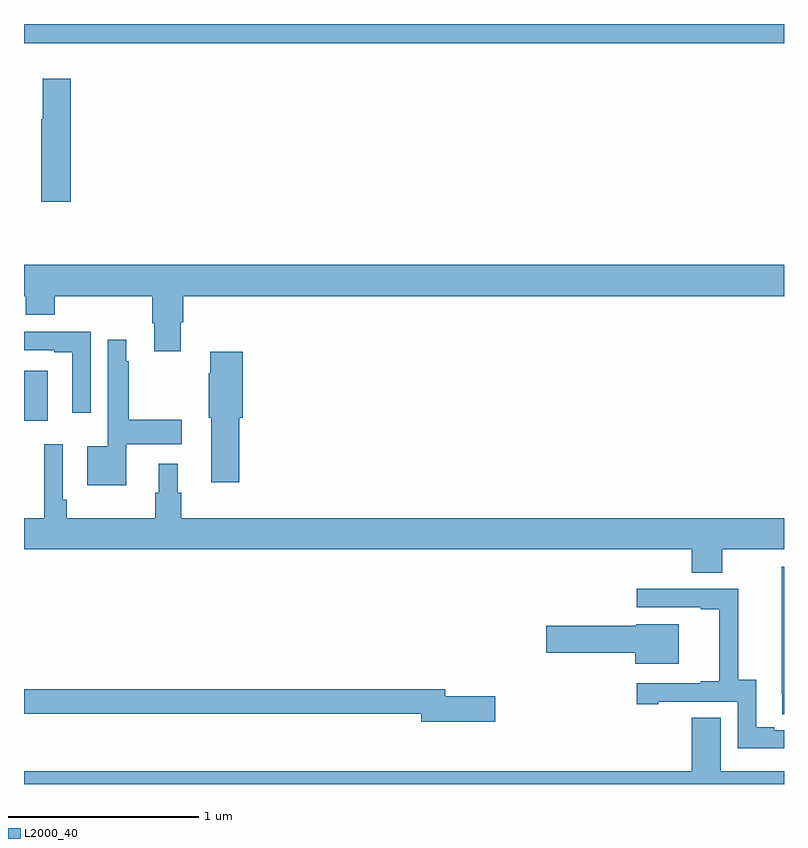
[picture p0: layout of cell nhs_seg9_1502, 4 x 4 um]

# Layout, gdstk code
import gdstk
lib = gdstk.Library(unit=1e-6, precision=1e-09)
def R(c, l, rs):  # rectangles x0, y0, x1, y1
    for r in rs: c.add(gdstk.rectangle(r[:2], r[2:], *l))
def P(c, l, *ps):  # polygons
    for p in ps: c.add(gdstk.Polygon(p, *l))
L2000_40 = (2000, 40)

nhs_seg9_1502 = lib.new_cell('nhs_seg9_1502')
R(nhs_seg9_1502, L2000_40, [(195,1214.411,195.124,1214.674), (195,1216.4,199,1216.5)])
P(nhs_seg9_1502, L2000_40, [(195.245,1216.213),(195.098,1216.213),(195.098,1216),(195.091,1216),(195.091,1215.564),(195.245,1215.564)],
  [(195.826,1214.931),(195.839,1214.931),(195.839,1215.068),(199,1215.068),(199,1215.232),(195,1215.232),(195,1215.068),(195.009,1215.068),(195.009,1214.97),(195.161,1214.97),(195.161,1215.068),(195.674,1215.068),(195.674,1214.926),(195.686,1214.926),(195.686,1214.778),(195.826,1214.778)],
  [(195.351,1214.88),(195,1214.88),(195,1214.784),(195.158,1214.784),(195.158,1214.772),(195.254,1214.772),(195.254,1214.454),(195.351,1214.454)],
  [(195.538,1214.288),(195.829,1214.288),(195.829,1214.418),(195.55,1214.418),(195.55,1214.726),(195.538,1214.726),(195.538,1214.839),(195.441,1214.839),(195.441,1214.278),(195.332,1214.278),(195.332,1214.072),(195.538,1214.072)],
  [(196.133,1214.427),(196.151,1214.427),(196.151,1214.776),(195.98,1214.776),(195.98,1214.663),(195.973,1214.663),(195.973,1214.427),(195.986,1214.427),(195.986,1214.088),(196.133,1214.088)],
  [(198.675,1213.736),(199,1213.736),(199,1213.9),(195.827,1213.9),(195.827,1214.034),(195.808,1214.034),(195.808,1214.185),(195.71,1214.185),(195.71,1214.034),(195.691,1214.034),(195.691,1213.9),(195.224,1213.9),(195.224,1213.996),(195.204,1213.996),(195.204,1214.287),(195.107,1214.287),(195.107,1213.9),(195,1213.9),(195,1213.736),(198.515,1213.736),(198.515,1213.612),(198.675,1213.612)],
  [(199,1213.644),(198.989,1213.644),(198.989,1212.976),(198.99,1212.976),(198.99,1212.868),(199,1212.868)],
  [(199,1212.783),(198.949,1212.783),(198.949,1212.798),(198.853,1212.798),(198.853,1213.049),(198.759,1213.049),(198.759,1213.527),(198.225,1213.527),(198.225,1213.431),(198.563,1213.431),(198.563,1213.419),(198.659,1213.419),(198.659,1213.042),(198.563,1213.042),(198.563,1213.029),(198.225,1213.029),(198.225,1212.921),(198.337,1212.921),(198.337,1212.933),(198.756,1212.933),(198.756,1212.687),(199,1212.687)],
  [(198.445,1213.342),(198.222,1213.342),(198.222,1213.332),(197.748,1213.332),(197.748,1213.19),(198.218,1213.19),(198.218,1213.133),(198.445,1213.133)],
  [(197.479,1212.962),(197.218,1212.962),(197.218,1212.998),(195,1212.998),(195,1212.87),(197.09,1212.87),(197.09,1212.827),(197.479,1212.827)],
  [(199,1212.568),(198.667,1212.568),(198.667,1212.848),(198.515,1212.848),(198.515,1212.568),(195,1212.568),(195,1212.5),(199,1212.5)])

lib.write_gds('nhs_seg9_1502.gds')
